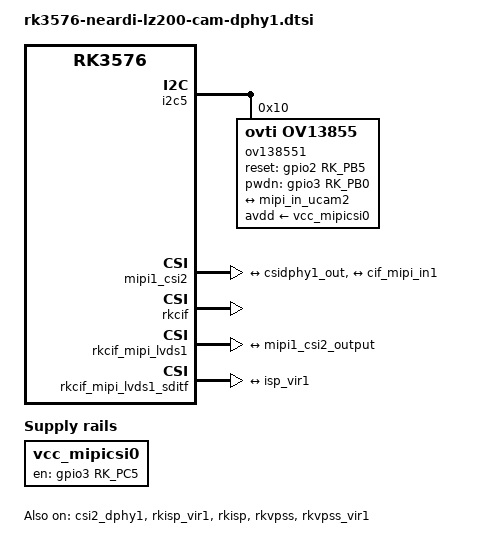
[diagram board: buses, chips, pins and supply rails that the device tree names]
/* dphy1 */
/* CAM1_RST GPIO2_B5 */
/* CAM1_PDN GPIO3_B0 */
/* CAM1_PWREN GPIO3_C5 */
&{/} {
	vcc_mipicsi0: vcc-mipicsi0-regulator {
		compatible = "regulator-fixed";
		gpio = <&gpio3 RK_PC5 GPIO_ACTIVE_HIGH>;
		pinctrl-names = "default";
		pinctrl-0 = <&mipicsi0_pwr>;
		regulator-name = "vcc_mipicsi0";
		enable-active-high;
	};
};
/* sensor1 --> csi2_dphy1 --> mipi1_csi2 --> rkcif_mipi_lvds1 */
/* rkcif_mipi_lvds1_stdif --> rkisp_vir1 */
&csi2_dphy1 {
	status = "okay";

	ports {
		#address-cells = <1>;
		#size-cells = <0>;
		port@0 {
			reg = <0>;
			#address-cells = <1>;
			#size-cells = <0>;

			mipi_in_ucam2: endpoint@2 {
				reg = <2>;
				remote-endpoint = <&ov13855_out1>;
				data-lanes = <1 2 3 4>;
			};
		};
		port@1 {
			reg = <1>;
			#address-cells = <1>;
			#size-cells = <0>;

			csidphy1_out: endpoint@0 {
				reg = <0>;
				remote-endpoint = <&mipi1_csi2_input>;
			};
		};
	};
};

&i2c5 {
    status = "okay";
	pinctrl-0 = <&i2c5m3_xfer>;

	ov138551: ov13855@10 {
        compatible = "ovti,ov13855";
        status = "okay";
        reg = <0x10>;
        clocks = <&cru CLK_MIPI_CAMERAOUT_M1>;
        clock-names = "xvclk";
        power-domains = <&power RK3576_PD_VI>;
        pinctrl-names = "default";
        pinctrl-0 = <&cam_clk1m0_clk1
					 &cam1_rst
					 &cam1_pwdn>;
        rockchip,grf = <&sys_grf>;
        reset-gpios = <&gpio2 RK_PB5 GPIO_ACTIVE_HIGH>;
        pwdn-gpios = <&gpio3 RK_PB0 GPIO_ACTIVE_HIGH>;
        avdd-supply = <&vcc_mipicsi0>;
        rockchip,camera-module-index = <0>;
        rockchip,camera-module-facing = "back";
        rockchip,camera-module-name = "CMK-OT2016-FV1";
        rockchip,camera-module-lens-name = "default";
        port {
            ov13855_out1: endpoint {
                remote-endpoint = <&mipi_in_ucam2>;
                data-lanes = <1 2 3 4>;
            };
        };
    };
};

&mipi1_csi2 {
	status = "okay";

	ports {
		#address-cells = <1>;
		#size-cells = <0>;

		port@0 {
			reg = <0>;
			#address-cells = <1>;
			#size-cells = <0>;

			mipi1_csi2_input: endpoint@1 {
				reg = <1>;
				remote-endpoint = <&csidphy1_out>;
			};
		};

		port@1 {
			reg = <1>;
			#address-cells = <1>;
			#size-cells = <0>;

			mipi1_csi2_output: endpoint@0 {
				reg = <0>;
				remote-endpoint = <&cif_mipi_in1>;
			};
		};
	};
};

&rkcif {
	status = "okay";
};

&rkcif_mipi_lvds1 {
	status = "okay";

	port {
		cif_mipi_in1: endpoint {
			remote-endpoint = <&mipi1_csi2_output>;
		};
	};
};

&rkcif_mipi_lvds1_sditf {
	status = "okay";

	port {
		mipi1_lvds_sditf: endpoint {
			remote-endpoint = <&isp_vir1>;
		};
	};
};

&rkisp_vir1 {
	status = "okay";

	port {
		#address-cells = <1>;
		#size-cells = <0>;

		isp_vir1: endpoint@0 {
			reg = <0>;
			remote-endpoint = <&mipi1_lvds_sditf>;
		};
	};
};

&rkcif_mmu {
	status = "okay";
};

&rkisp {
	status = "okay";
};

&rkisp_mmu {
	status = "okay";
};

&rkvpss {
	status = "okay";
};

&rkvpss_mmu {
	status = "okay";
};

&rkvpss_vir1 {
	status = "okay";
};

&pinctrl {
    cam1 {
		mipicsi0_pwr: mipicsi0-pwr {
			rockchip,pins =
				/* camera power en */
				<3 RK_PC5 RK_FUNC_GPIO &pcfg_pull_none>;
		};

		cam1_rst: cam1_rst {
			rockchip,pins = 
				/* camera reset */
				<2 RK_PB5 RK_FUNC_GPIO &pcfg_pull_none>;
		};

		cam1_pwdn: cam1_pwdn {
			rockchip,pins = 
				/* camera power down */
				<3 RK_PB0 RK_FUNC_GPIO &pcfg_pull_none>;
		};
    };
};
